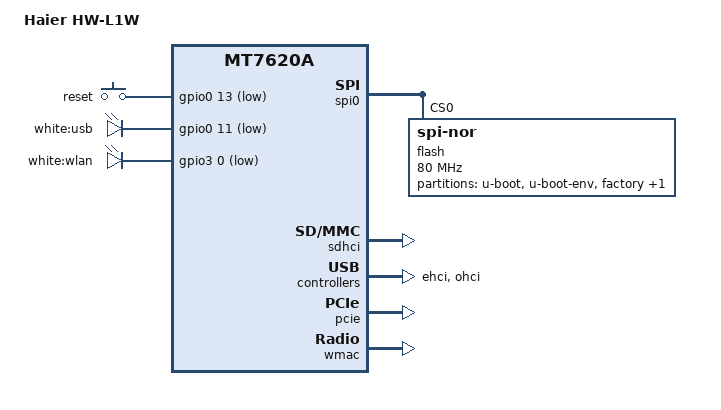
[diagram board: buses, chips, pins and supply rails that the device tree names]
// SPDX-License-Identifier: GPL-2.0-or-later OR MIT

#include "mt7620a.dtsi"

#include <dt-bindings/gpio/gpio.h>
#include <dt-bindings/input/input.h>

/ {
	model = "Haier HW-L1W";
	compatible = "haier,hw-l1w", "ralink,mt7620a-soc";

	aliases {
		led-boot = &led_usb;
		led-failsafe = &led_usb;
		led-upgrade = &led_usb;
	};

	keys {
		compatible = "gpio-keys";

		reset {
			label = "reset";
			gpios = <&gpio0 13 GPIO_ACTIVE_LOW>;
			linux,code = <KEY_RESTART>;
		};
	};

	leds {
		compatible = "gpio-leds";

		led_usb: usb {
			label = "white:usb";
			gpios = <&gpio0 11 GPIO_ACTIVE_LOW>;
			linux,default-trigger = "usbport";
			trigger-sources = <&ohci_port1>, <&ehci_port1>;
		};

		wlan {
			label = "white:wlan";
			gpios = <&gpio3 0 GPIO_ACTIVE_LOW>;
			linux,default-trigger = "phy0tpt";
		};
	};
};

&gpio3 {
	status = "okay";
};

&spi0 {
	status = "okay";

	flash@0 {
		compatible = "jedec,spi-nor";
		reg = <0>;
		spi-max-frequency = <80000000>;
		m25p,fast-read;

		partitions {
			compatible = "fixed-partitions";
			#address-cells = <1>;
			#size-cells = <1>;

			partition@0 {
				label = "u-boot";
				reg = <0x0 0x30000>;
				read-only;
			};

			partition@30000 {
				label = "u-boot-env";
				reg = <0x30000 0x10000>;
				read-only;
			};

			factory: partition@40000 {
				label = "factory";
				reg = <0x40000 0x10000>;
				read-only;
			};

			partition@50000 {
				compatible = "denx,uimage";
				label = "firmware";
				reg = <0x50000 0xfb0000>;
			};
		};
	};
};

&state_default {
	gpio {
		groups = "uartf", "wled";
		function = "gpio";
	};
};

&ethernet {
	pinctrl-names = "default";
	pinctrl-0 = <&ephy_pins>;

	mediatek,portmap = "wllll";

	nvmem-cells = <&macaddr_factory_ffe8>;
	nvmem-cell-names = "mac-address";
};

&sdhci {
	status = "okay";
};

&ehci {
	status = "okay";
};

&ohci {
	status = "okay";
};

&pcie {
	status = "okay";
};

&pcie0 {
	wifi@0,0 {
		reg = <0x0000 0 0 0 0>;
		mediatek,mtd-eeprom = <&factory 0x8000>;
		ieee80211-freq-limit = <5000000 6000000>;
	};
};

&wmac {
	ralink,mtd-eeprom = <&factory 0x0>;
};

&factory {
	compatible = "nvmem-cells";
	#address-cells = <1>;
	#size-cells = <1>;

	macaddr_factory_ffe8: macaddr@ffe8 {
		reg = <0xffe8 0x6>;
	};
};
